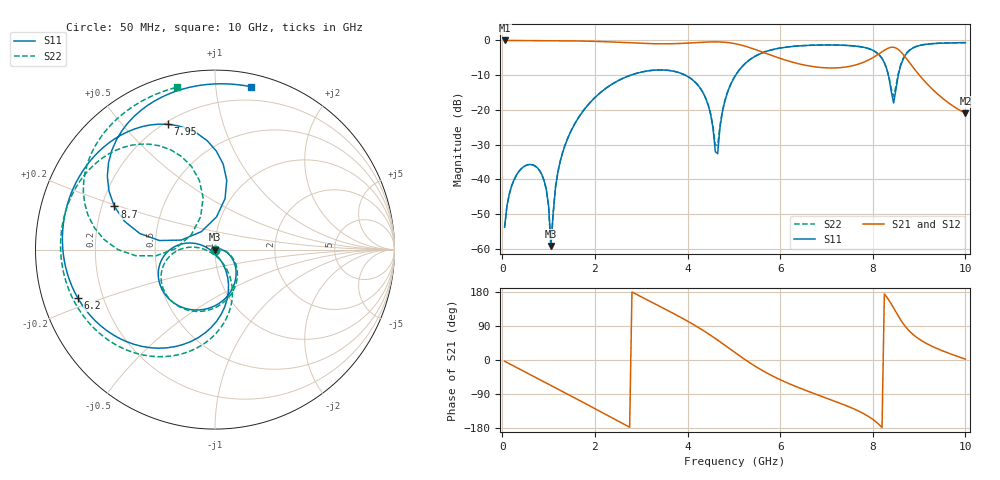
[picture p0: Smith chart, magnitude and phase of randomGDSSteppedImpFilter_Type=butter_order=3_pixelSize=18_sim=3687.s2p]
! freq	dB(S11)	phase(S11)	dB(S12)	phase(S12)
!  dB(S21)	phase(S21)	dB(S22)	phase(S22)
!S-par simulation data
#  GHz  S  DB  R 50
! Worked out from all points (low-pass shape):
!   200 points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, 50 MHz to 10 GHz, reference 50 ohm
!   highest |S21| = -0.01 dB at 50 MHz (marker M1); lowest = -21.0 dB at 10 GHz (marker M2)
!   |S21| within 3 dB of the highest: start of sweep to 5.547 GHz; 8.231 GHz to 8.585 GHz (353.9 MHz wide, 4.21 % of centre)
!   lowest |S11| = -59.2 dB at 1.05 GHz (marker M3), VSWR 1.00, Z = 50 - j0.108 ohm
!   |S11| at or under -10 dB: start of sweep to 2.776 GHz; 3.949 GHz to 5.04 GHz (1.091 GHz wide, 24.3 % of centre); 8.335 GHz to 8.551 GHz (216.3 MHz wide, 2.56 % of centre)
!   |S22| runs from -59.3 to -0.6 dB; largest |S21 - S12| = 0
!   S11 on the Smith chart (normalised r, x): 50 MHz: 1.00, -0.00; 6.2 GHz: 0.11, -0.17; 7.95 GHz: 0.21, +0.67; 8.7 GHz: 0.25, +0.19; 10 GHz: 0.09, +1.24
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0.05  -53.83 -73.7  -0.01 -3.2  -0.01 -3.2  -53.67 -73.4
0.25  -40.25 -102.1  -0.03 -15.9  -0.03 -15.9  -40.26 -101.8
0.65  -35.82 -130.7  -0.06 -41.3  -0.06 -41.3  -35.84 -129.9
0.95  -42.92 -149.9  -0.08 -60.4  -0.08 -60.4  -42.94 -149.1
1.05  -59.19 -99.5  -0.08 -66.8  -0.08 -66.8  -59.27 -98.3
1.25  -34.88 8.7  -0.10 -79.6  -0.10 -79.6  -34.86 10.5
1.75  -20.25 -23.9  -0.18 -112.1  -0.18 -112.1  -20.23 -21.5
2.55  -11.27 -76.7  -0.55 -164.5  -0.55 -164.5  -11.26 -73.1
3.4  -8.50 -130.7  -0.97 141.6  -0.97 141.6  -8.49 -125.5
4.3  -14.28 171.0  -0.54 80.9  -0.54 80.9  -14.25 179.5
4.65  -32.63 -88.8  -0.42 52.6  -0.42 52.6  -30.29 -92.2
4.8  -17.77 -62.5  -0.52 39.6  -0.52 39.6  -17.62 -59.2
5.05  -9.78 -80.4  -1.00 17.5  -1.00 17.5  -9.74 -74.2
5.55  -3.95 -120.1  -3.02 -23.1  -3.02 -23.1  -3.93 -111.6
6.2  -1.83 -160.5  -6.01 -62.9  -6.01 -62.9  -1.81 -149.8
6.7  -1.38 174.7  -7.51 -87.0  -7.51 -87.0  -1.36 -172.8
7.95  -2.54 110.7  -5.35 -152.4  -5.35 -152.4  -2.54 128.9
8.35  -10.78 78.9  -2.15 157.4  -2.15 157.4  -10.54 102.9
8.45  -18.01 127.1  -1.98 137.2  -1.98 137.2  -16.15 147.9
8.7  -4.29 156.8  -4.74 89.0  -4.74 89.0  -4.16 174.9
9.2  -1.04 115.0  -12.89 41.0  -12.89 41.0  -1.02 136.7
10  -0.64 77.6  -20.96 2.2  -20.96 2.2  -0.64 103.1
